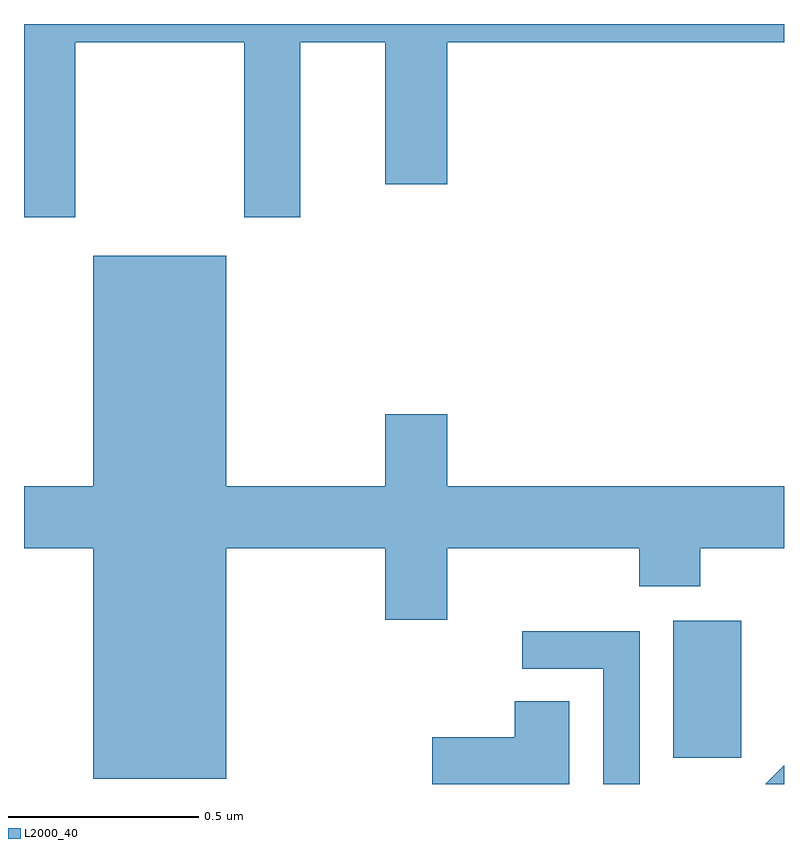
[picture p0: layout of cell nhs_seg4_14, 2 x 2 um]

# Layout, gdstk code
import gdstk
lib = gdstk.Library(unit=1e-6, precision=1e-09)
def R(c, l, rs):  # rectangles x0, y0, x1, y1
    for r in rs: c.add(gdstk.rectangle(r[:2], r[2:], *l))
def P(c, l, *ps):  # polygons
    for p in ps: c.add(gdstk.Polygon(p, *l))
L2000_40 = (2000, 40)

nhs_seg4_14 = lib.new_cell('nhs_seg4_14')
R(nhs_seg4_14, L2000_40, [(112.709,762.969,112.888,763.33)])
P(nhs_seg4_14, L2000_40, [(111.135,764.852),(111.58,764.852),(111.58,764.391),(111.727,764.391),(111.727,764.852),(111.95,764.852),(111.95,764.478),(112.114,764.478),(112.114,764.852),(113,764.852),(113,764.9),(111,764.9),(111,764.391),(111.135,764.391)],
  [(111.532,763.52),(111.95,763.52),(111.95,763.332),(112.114,763.332),(112.114,763.52),(112.619,763.52),(112.619,763.421),(112.779,763.421),(112.779,763.52),(113,763.52),(113,763.684),(112.114,763.684),(112.114,763.873),(111.95,763.873),(111.95,763.684),(111.532,763.684),(111.532,764.29),(111.182,764.29),(111.182,763.684),(111,763.684),(111,763.52),(111.182,763.52),(111.182,762.914),(111.532,762.914)],
  [(112.62,763.302),(112.311,763.302),(112.311,763.203),(112.524,763.203),(112.524,762.9),(112.62,762.9)],
  [(112.435,763.118),(112.292,763.118),(112.292,763.023),(112.074,763.023),(112.074,762.9),(112.435,762.9)],
  [(113,762.95),(112.95,762.9),(113,762.9)])

lib.write_gds('nhs_seg4_14.gds')
